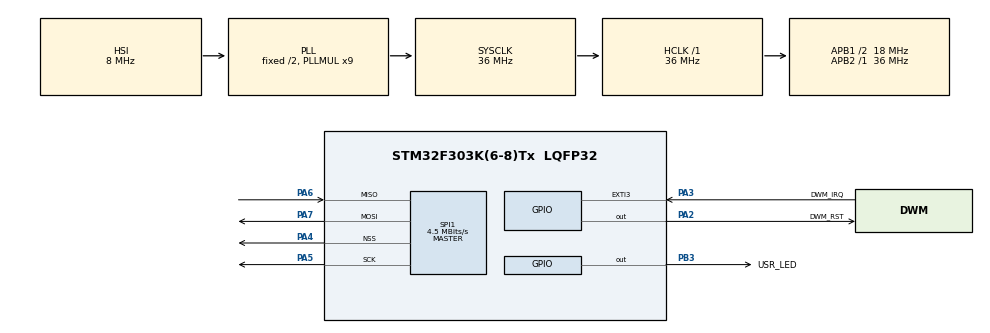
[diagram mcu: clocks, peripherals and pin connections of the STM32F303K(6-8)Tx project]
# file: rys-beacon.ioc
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Mcu.Family=STM32F3
Mcu.Name=STM32F303K(6-8)Tx
Mcu.Package=LQFP32
NVIC.EXTI3_IRQn=true\:15\:0\:true\:false\:true\:true
NVIC.PriorityGroup=NVIC_PRIORITYGROUP_4
PA13.GPIO_Label=SWDIO
PA13.Mode=Serial_Wire
PA13.Signal=SYS_JTMS-SWDIO
PA14.GPIO_Label=SWCLK
PA14.Mode=Serial_Wire
PA14.Signal=SYS_JTCK-SWCLK
PA2.GPIO_Label=DWM_RST
PA2.GPIO_PuPd=GPIO_NOPULL
PA2.GPIO_Speed=GPIO_SPEED_FREQ_HIGH
PA2.Signal=GPIO_Output
PA3.GPIO_Label=DWM_IRQ
PA3.GPIO_PuPd=GPIO_PULLDOWN
PA3.Signal=GPXTI3
PA4.Mode=NSS_Signal_Hard_Output
PA4.Signal=SPI1_NSS
PA5.Mode=Full_Duplex_Master
PA5.Signal=SPI1_SCK
PA6.Mode=Full_Duplex_Master
PA6.Signal=SPI1_MISO
PA7.Mode=Full_Duplex_Master
PA7.Signal=SPI1_MOSI
PB3.GPIO_Label=USR_LED
PB3.Signal=GPIO_Output
PF0\ /\ OSC_IN.Mode=HSE-External-Clock-Source
PF0\ /\ OSC_IN.Signal=RCC_OSC_IN
ProjectManager.HeapSize=0x200
ProjectManager.StackSize=0x400
ProjectManager.TargetToolchain=SW4STM32
RCC.AHBFreq_Value=36000000
RCC.APB1CLKDivider=RCC_HCLK_DIV2
RCC.APB1Freq_Value=18000000
RCC.APB1TimFreq_Value=36000000
RCC.APB2Freq_Value=36000000
RCC.APB2TimFreq_Value=36000000
RCC.CortexFreq_Value=36000000
RCC.HCLKFreq_Value=36000000
RCC.HSE_VALUE=8000000
RCC.HSI_VALUE=8000000
RCC.PLLMUL=RCC_PLL_MUL9
RCC.SYSCLKFreq_VALUE=36000000
RCC.SYSCLKSourceVirtual=RCC_SYSCLKSOURCE_PLLCLK
SPI1.BaudRatePrescaler=SPI_BAUDRATEPRESCALER_8
SPI1.CRCCalculation=SPI_CRCCALCULATION_ENABLE
SPI1.CalculateBaudRate=4.5 MBits/s
SPI1.DataSize=SPI_DATASIZE_8BIT
SPI1.Direction=SPI_DIRECTION_2LINES
SPI1.Mode=SPI_MODE_MASTER
SPI1.NSSPMode=SPI_NSS_PULSE_ENABLE
SPI1.VirtualNSS=VM_NSSHARD
SPI1.VirtualType=VM_MASTER
board=NUCLEO-F303K8

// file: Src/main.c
/**
  ******************************************************************************
  * File Name          : main.c
  * Description        : Main program body
  ******************************************************************************
  ** This notice applies to any and all portions of this file
  * that are not between comment pairs USER CODE BEGIN and
  * USER CODE END. Other portions of this file, whether
  * inserted by the user or by software development tools
  * are owned by their respective copyright owners.
  *
  * COPYRIGHT(c) 2017 STMicroelectronics
  *
  * Redistribution and use in source and binary forms, with or without modification,
  * are permitted provided that the following conditions are met:
  *   1. Redistributions of source code must retain the above copyright notice,
  *      this list of conditions and the following disclaimer.
  *   2. Redistributions in binary form must reproduce the above copyright notice,
  *      this list of conditions and the following disclaimer in the documentation
  *      and/or other materials provided with the distribution.
  *   3. Neither the name of STMicroelectronics nor the names of its contributors
  *      may be used to endorse or promote products derived from this software
  *      without specific prior written permission.
  *
  * THIS SOFTWARE IS PROVIDED BY THE COPYRIGHT HOLDERS AND CONTRIBUTORS "AS IS"
  * AND ANY EXPRESS OR IMPLIED WARRANTIES, INCLUDING, BUT NOT LIMITED TO, THE
  * IMPLIED WARRANTIES OF MERCHANTABILITY AND FITNESS FOR A PARTICULAR PURPOSE ARE
  * DISCLAIMED. IN NO EVENT SHALL THE COPYRIGHT HOLDER OR CONTRIBUTORS BE LIABLE
  * FOR ANY DIRECT, INDIRECT, INCIDENTAL, SPECIAL, EXEMPLARY, OR CONSEQUENTIAL
  * DAMAGES (INCLUDING, BUT NOT LIMITED TO, PROCUREMENT OF SUBSTITUTE GOODS OR
  * SERVICES; LOSS OF USE, DATA, OR PROFITS; OR BUSINESS INTERRUPTION) HOWEVER
  * CAUSED AND ON ANY THEORY OF LIABILITY, WHETHER IN CONTRACT, STRICT LIABILITY,
  * OR TORT (INCLUDING NEGLIGENCE OR OTHERWISE) ARISING IN ANY WAY OUT OF THE USE
  * OF THIS SOFTWARE, EVEN IF ADVISED OF THE POSSIBILITY OF SUCH DAMAGE.
  *
  ******************************************************************************
  */
#include "main.h"
#include "stm32f3xx_hal.h"

/* USER CODE BEGIN Includes */
#include "deca_device_api.h"
#include "deca_regs.h"
#include "dwm_platform.h"
#include <string.h>
/* USER CODE END Includes */

SPI_HandleTypeDef hspi1;

/* USER CODE BEGIN PV */
/* Private variables ---------------------------------------------------------*/

// DW1000 communication configuration - simple transmitter (example 01a)
static dwt_config_t configTransmitter = {
	2,               /* Channel number. */
	DWT_PRF_64M,     /* Pulse repetition frequency. */
	DWT_PLEN_1024,   /* Preamble length. Used in TX only. */
	DWT_PAC32,       /* Preamble acquisition chunk size. Used in RX only. */
	9,               /* TX preamble code. Used in TX only. */
	9,               /* RX preamble code. Used in RX only. */
	1,               /* 0 to use standard SFD, 1 to use non-standard SFD. */
	DWT_BR_110K,     /* Data rate. */
	DWT_PHRMODE_STD, /* PHY header mode. */
	(1025 + 64 - 32) /* SFD timeout (preamble length + 1 + SFD length - PAC size). Used in RX only. */
};
// DW1000 communication configuration - single-sided two-way-ranging responder (example 06b)
static dwt_config_t configResponder = {
	2,               /* Channel number. */
	DWT_PRF_64M,     /* Pulse repetition frequency. */
	DWT_PLEN_128,    /* Preamble length. Used in TX only. */
	DWT_PAC8,        /* Preamble acquisition chunk size. Used in RX only. */
	9,               /* TX preamble code. Used in TX only. */
	9,               /* RX preamble code. Used in RX only. */
	0,               /* 0 to use standard SFD, 1 to use non-standard SFD. */
	DWT_BR_6M8,      /* Data rate. */
	DWT_PHRMODE_STD, /* PHY header mode. */
	(129 + 8 - 8)    /* SFD timeout (preamble length + 1 + SFD length - PAC size). Used in RX only. */
};

/**
 * The frame to send - simple transmitter, An 802.15.4e standard blink. It is a 12-byte frame composed of the following fields:
 *  - byte 0: frame type (0xC5 for a blink)
 *  - byte 1: sequence number, incremented for each new frame
 *  - byte 2 -> 9: device ID
 *  - byte 10/11: frame check-sum, automatically set by DW1000
 */
static uint8 messageTransmitter[] = {0xC5, 0, 'D', 'E', 'C', 'A', 'W', 'A', 'V', 'E', 0, 0};
// Frames used in two-way-ranging responder mode
static uint8 messageResponderPoll[] = {0x41, 0x88, 0, 0xCA, 0xDE, 'W', 'A', 'V', 'E', 0xE0, 0, 0};
static uint8 messageResponderTx[] = {0x41, 0x88, 0, 0xCA, 0xDE, 'V', 'E', 'W', 'A', 0xE1, 0, 0, 0, 0, 0, 0, 0, 0, 0, 0};

// Frame sequence number, incremented after each transmission.
static uint8 frameSequenceNumber = 0;

// Buffer to store received messages. Its size is adjusted to longest frame that this example code is supposed to handle.
static uint8 receiveBuffer[FRAME_LEN_MAX];
static uint8 receiveBufferResponder[RX_BUF_LEN];

// Timestamps of frames transmission/reception. They are 40-bit wide - thus 64-bit type.
static uint64_t timestampPollRx;
static uint64_t timestampResponseTx;

// Command return value. For assertions.
static volatile int commandStatus = DWT_SUCCESS;
/* USER CODE END PV */

void SystemClock_Config(void);
static void MX_GPIO_Init(void);
static void MX_SPI1_Init(void);
void reportError(int code, int delay, int delayFromStart);

/* USER CODE BEGIN PFP */
/* Private function prototypes -----------------------------------------------*/
static uint64_t get_rx_timestamp_u64(void);
static void resp_msg_set_ts(uint8 *ts_field, const uint64_t ts);

/* USER CODE END PFP */

int main(void)
{

  /* MCU Configuration----------------------------------------------------------*/

  /* Reset of all peripherals, Initializes the Flash interface and the Systick. */
  HAL_Init();

  /* Configure the system clock */
  SystemClock_Config();

  /* Initialize all configured peripherals */
  MX_GPIO_Init();
  MX_SPI1_Init();

  /* USER CODE BEGIN 2 */

	#if (DWM_TRANSMITTER==1) || (DWM_RESPONDER==1) || (DWM_RECEIVER==1)
		// Reset and init DW1000.
		reset_DW1000();
		spi_set_rate_low();
		if (dwt_initialise(DWT_LOADNONE) == DWT_ERROR) {
			_Error_Handler(__FILE__, __LINE__);
		}
		spi_set_rate_high();

		// Configure DW1000
		#ifdef DWM_TRANSMITTER
			dwt_configure(&configTransmitter);
		#endif
		#ifdef DWM_RECEIVER
			dwt_configure(&configTransmitter);
		#endif
		#ifdef DWM_RESPONDER
			dwt_configure(&configResponder);

			// Apply default antenna delay value.
			dwt_setrxantennadelay(RX_ANT_DLY);
			dwt_settxantennadelay(TX_ANT_DLY);
		#endif

		// Config GPIO for TX/RX LEDs
		// dwt_setleds(0x01);
	#endif

  /* USER CODE END 2 */

  /* Infinite loop */
  while (1)
  {

  /* USER CODE BEGIN 3 */
  #ifdef DWM_TRANSMITTER
	uint32_t devid = dwt_readdevid();
	if (DWT_DEVICE_ID != devid) {
		_Error_Handler(__FILE__, __LINE__);
	}
	// Write frame data to DW1000 and prepare transmission.
	// Zero offset in TX buffer.
	commandStatus = dwt_writetxdata(sizeof(messageTransmitter), messageTransmitter, 0);
	if (commandStatus == DWT_ERROR) {
		reportError(2, TX_DELAY_MS, 0);
		continue;
	}

	// Zero offset in TX buffer, no ranging.
	dwt_writetxfctrl(sizeof(messageTransmitter), 0, 0);

	// Start transmission.
	commandStatus = dwt_starttx(DWT_START_TX_IMMEDIATE);
	if (commandStatus == DWT_ERROR) {
		reportError(3, TX_DELAY_MS, 0);
		continue;
	}

	/* Poll DW1000 until TX frame sent event set.
	 * STATUS register is 5 bytes long but, as the event we are looking at is in the first byte of the register,
	 * we can use this simplest API function to access it.*/
	while (!(dwt_read32bitreg(SYS_STATUS_ID) & SYS_STATUS_TXFRS)) {};

	// Clear TX frame sent event.
	dwt_write32bitreg(SYS_STATUS_ID, SYS_STATUS_TXFRS);

	// Increment the blink frame sequence number (modulo 256).
	messageTransmitter[BLINK_FRAME_SN_IDX]++;

	// Blink the led
	HAL_GPIO_TogglePin(USR_LED_GPIO_Port, USR_LED_Pin);

	// Execute a delay between transmissions.
	sleep_ms(TX_DELAY_MS);
  #endif
  #ifdef DWM_RECEIVER
	// Clear local RX buffer to avoid having leftovers from previous receptions.
	for (int i = 0 ; i < FRAME_LEN_MAX; i++ ) {
		receiveBuffer[i] = 0;
	}

	// Activate reception immediately.
	commandStatus = dwt_rxenable(DWT_START_RX_IMMEDIATE);
	if (commandStatus == DWT_ERROR) {
		reportError(4, 1000, 0);
		continue;
	}

	// Poll until a frame is properly received or an error/timeout occurs.
	uint32_t statusRegister = dwt_read32bitreg(SYS_STATUS_ID);
	while (!(statusRegister & (SYS_STATUS_RXFCG | SYS_STATUS_ALL_RX_ERR))) {
		statusRegister = dwt_read32bitreg(SYS_STATUS_ID);
	}

	if (statusRegister & SYS_STATUS_RXFCG) {
		// A frame has been received, copy it to our local buffer.
		uint16_t frameLength = dwt_read32bitreg(RX_FINFO_ID) & RX_FINFO_RXFL_MASK_1023;
		if (frameLength <= FRAME_LEN_MAX) {
			dwt_readrxdata(receiveBuffer, frameLength, 0);
		}
		if (frameLength > 0) {
			// printf(receiveBuffer);
			reportError(1, 0, 0);
		} else {
			reportError(2, 0, 0);
		}

		// Clear good RX frame event in the DW1000 status register.
		dwt_write32bitreg(SYS_STATUS_ID, SYS_STATUS_RXFCG);
	} else {
		reportError(5, 1000, 0);
		dwt_write32bitreg(SYS_STATUS_ID, SYS_STATUS_ALL_RX_ERR);
	}
  #endif
  #ifdef DWM_RESPONDER
	// Activate reception immediately.
	dwt_rxenable(DWT_START_RX_IMMEDIATE);

	// Poll for reception of a frame or error/timeout.
	uint32_t statusRegister = dwt_read32bitreg(SYS_STATUS_ID);
	while (!(statusRegister & (SYS_STATUS_RXFCG | SYS_STATUS_ALL_RX_ERR))) {
		statusRegister = dwt_read32bitreg(SYS_STATUS_ID);
	}

	if (statusRegister & SYS_STATUS_RXFCG) {
		uint32_t frameLength;

		// Clear good RX frame event in the DW1000 status register.
		dwt_write32bitreg(SYS_STATUS_ID, SYS_STATUS_RXFCG);

		// A frame has been received, read it into the local buffer.
		frameLength = dwt_read32bitreg(RX_FINFO_ID) & RX_FINFO_RXFL_MASK_1023;
		if (frameLength <= RX_BUFFER_LEN) {
			dwt_readrxdata(receiveBufferResponder, frameLength, 0);
		}

		/* Check that the frame is a poll sent by "SS TWR initiator" example.
		 * As the sequence number field of the frame is not relevant, it is cleared to simplify the validation of the frame. */
		receiveBufferResponder[ALL_MSG_SN_IDX] = 0;
		if (memcmp(receiveBufferResponder, messageResponderPoll, ALL_MSG_COMMON_LEN) == 0) {
			// Retrieve poll reception timestamp.
			timestampPollRx = get_rx_timestamp_u64();

			// Compute final message transmission time.
			uint32 transmissionTime = (timestampPollRx + (POLL_RX_TO_RESP_TX_DLY_UUS * UUS_TO_DWT_TIME)) >> 8;
			dwt_setdelayedtrxtime(transmissionTime);

			// Response TX timestamp is the transmission time we programmed plus the antenna delay.
			timestampResponseTx = (((uint64_t)(transmissionTime & 0xFFFFFFFEUL)) << 8) + TX_ANT_DLY;

			// Write all timestamps in the final message.
			resp_msg_set_ts(&messageResponderTx[RESP_MSG_POLL_RX_TS_IDX], timestampPollRx);
			resp_msg_set_ts(&messageResponderTx[RESP_MSG_RESP_TX_TS_IDX], timestampResponseTx);

			// Write and send the response message.
			messageResponderTx[ALL_MSG_SN_IDX] = frameSequenceNumber;
			dwt_writetxdata(sizeof(messageResponderTx), messageResponderTx, 0); /* Zero offset in TX buffer. */
			dwt_writetxfctrl(sizeof(messageResponderTx), 0, 1); /* Zero offset in TX buffer, ranging. */
			int transmitStatus = dwt_starttx(DWT_START_TX_DELAYED);

			// If dwt_starttx() returns an error, abandon this ranging exchange and proceed to the next one.
			if (transmitStatus == DWT_SUCCESS) {
				// Poll DW1000 until TX frame sent event set.
				while (!(dwt_read32bitreg(SYS_STATUS_ID) & SYS_STATUS_TXFRS)) {}

				// Clear TXFRS event.
				dwt_write32bitreg(SYS_STATUS_ID, SYS_STATUS_TXFRS);

				// Increment frame sequence number after transmission of the poll message (modulo 256).
				frameSequenceNumber++;
			}
		}
	} else {
		// Clear RX error events in the DW1000 status register.
		dwt_write32bitreg(SYS_STATUS_ID, SYS_STATUS_ALL_RX_ERR);

		// Reset RX to properly reinitialise LDE operation.
		dwt_rxreset();
	}
  #endif
  }
  /* USER CODE END 3 */

}

/** System Clock Configuration
*/
void SystemClock_Config(void)
{

  RCC_OscInitTypeDef RCC_OscInitStruct;
  RCC_ClkInitTypeDef RCC_ClkInitStruct;

    /**Initializes the CPU, AHB and APB busses clocks
    */
  RCC_OscInitStruct.OscillatorType = RCC_OSCILLATORTYPE_HSI;
  RCC_OscInitStruct.HSIState = RCC_HSI_ON;
  RCC_OscInitStruct.HSICalibrationValue = 16;
  RCC_OscInitStruct.PLL.PLLState = RCC_PLL_ON;
  RCC_OscInitStruct.PLL.PLLSource = RCC_PLLSOURCE_HSI;
  RCC_OscInitStruct.PLL.PLLMUL = RCC_PLL_MUL9;
  if (HAL_RCC_OscConfig(&RCC_OscInitStruct) != HAL_OK)
  {
    _Error_Handler(__FILE__, __LINE__);
  }

    /**Initializes the CPU, AHB and APB busses clocks
    */
  RCC_ClkInitStruct.ClockType = RCC_CLOCKTYPE_HCLK|RCC_CLOCKTYPE_SYSCLK
                              |RCC_CLOCKTYPE_PCLK1|RCC_CLOCKTYPE_PCLK2;
  RCC_ClkInitStruct.SYSCLKSource = RCC_SYSCLKSOURCE_PLLCLK;
  RCC_ClkInitStruct.AHBCLKDivider = RCC_SYSCLK_DIV1;
  RCC_ClkInitStruct.APB1CLKDivider = RCC_HCLK_DIV2;
  RCC_ClkInitStruct.APB2CLKDivider = RCC_HCLK_DIV1;

  if (HAL_RCC_ClockConfig(&RCC_ClkInitStruct, FLASH_LATENCY_1) != HAL_OK)
  {
    _Error_Handler(__FILE__, __LINE__);
  }

    /**Configure the Systick interrupt time
    */
  HAL_SYSTICK_Config(HAL_RCC_GetHCLKFreq()/1000);

    /**Configure the Systick
    */
  HAL_SYSTICK_CLKSourceConfig(SYSTICK_CLKSOURCE_HCLK);

  /* SysTick_IRQn interrupt configuration */
  HAL_NVIC_SetPriority(SysTick_IRQn, 5, 0);
}

/* SPI1 init function */
static void MX_SPI1_Init(void)
{
  // __HAL_RCC_SPI1_CLK_ENABLE();

  /* SPI1 parameter configuration*/
  hspi1.Instance = SPI1;
  hspi1.Init.Mode = SPI_MODE_MASTER;
  hspi1.Init.Direction = SPI_DIRECTION_2LINES;
  hspi1.Init.DataSize = SPI_DATASIZE_8BIT;
  hspi1.Init.CLKPolarity = SPI_POLARITY_LOW;
  hspi1.Init.CLKPhase = SPI_PHASE_1EDGE;
  // hspi1.Init.NSS = SPI_NSS_SOFT;
  hspi1.Init.NSS = SPI_NSS_HARD_OUTPUT;
  hspi1.Init.BaudRatePrescaler = SPI_BAUDRATEPRESCALER_64;
  hspi1.Init.FirstBit = SPI_FIRSTBIT_MSB;
  hspi1.Init.TIMode = SPI_TIMODE_DISABLE;
  hspi1.Init.CRCCalculation = SPI_CRCCALCULATION_DISABLE;
  // hspi1.Init.CRCCalculation = SPI_CRCCALCULATION_ENABLE;
  hspi1.Init.CRCPolynomial = 7;
  hspi1.Init.CRCLength = SPI_CRC_LENGTH_DATASIZE;
  hspi1.Init.NSSPMode = SPI_NSS_PULSE_DISABLE;
  // hspi1.Init.NSSPMode = SPI_NSS_PULSE_ENABLE;
  if (HAL_SPI_Init(&hspi1) != HAL_OK)
  {
    _Error_Handler(__FILE__, __LINE__);
  }

}

/** Configure pins as
        * Analog
        * Input
        * Output
        * EVENT_OUT
        * EXTI
*/
static void MX_GPIO_Init(void)
{

  GPIO_InitTypeDef GPIO_InitStruct;

  /* GPIO Ports Clock Enable */
  __HAL_RCC_GPIOF_CLK_ENABLE();
  __HAL_RCC_GPIOA_CLK_ENABLE();
  __HAL_RCC_GPIOB_CLK_ENABLE();

  /*Configure GPIO pin Output Level */
  HAL_GPIO_WritePin(DWM_RST_GPIO_Port, DWM_RST_Pin, GPIO_PIN_RESET);

  /*Configure GPIO pin Output Level */
  HAL_GPIO_WritePin(USR_LED_GPIO_Port, USR_LED_Pin, GPIO_PIN_RESET);

  /*Configure GPIO pin : DWM_RST_Pin */
  GPIO_InitStruct.Pin = DWM_RST_Pin;
  GPIO_InitStruct.Mode = GPIO_MODE_INPUT;
  GPIO_InitStruct.Pull = GPIO_NOPULL;
  GPIO_InitStruct.Speed = GPIO_SPEED_FREQ_HIGH;
  HAL_GPIO_Init(DWM_RST_GPIO_Port, &GPIO_InitStruct);

  /*Configure GPIO pin : DWM_IRQ_Pin */
  GPIO_InitStruct.Pin = DWM_IRQ_Pin;
  GPIO_InitStruct.Mode = GPIO_MODE_IT_RISING;
  GPIO_InitStruct.Pull = GPIO_PULLDOWN;
  HAL_GPIO_Init(DWM_IRQ_GPIO_Port, &GPIO_InitStruct);

  /*Configure GPIO pin : USR_LED_Pin */
  GPIO_InitStruct.Pin = USR_LED_Pin;
  GPIO_InitStruct.Mode = GPIO_MODE_OUTPUT_PP;
  GPIO_InitStruct.Pull = GPIO_NOPULL;
  GPIO_InitStruct.Speed = GPIO_SPEED_FREQ_LOW;
  HAL_GPIO_Init(USR_LED_GPIO_Port, &GPIO_InitStruct);

  /* EXTI interrupt init*/
  HAL_NVIC_SetPriority(EXTI3_IRQn, 15, 0);
  HAL_NVIC_EnableIRQ(EXTI3_IRQn);

}

/* USER CODE BEGIN 4 */

/*! ------------------------------------------------------------------------------------------------------------------
 * @fn get_rx_timestamp_u64()
 * @brief Get the RX time-stamp in a 64-bit variable.
 *  /!\ This function assumes that length of time-stamps is 40 bits, for both TX and RX!
 * @param none
 * @return 64-bit value of the read time-stamp.
 */
static uint64_t get_rx_timestamp_u64(void) {
	uint8 ts_tab[5];
	uint64_t ts = 0;
	dwt_readrxtimestamp(ts_tab);
	for (int i = 4; i >= 0; i--) {
		ts <<= 8;
		ts |= ts_tab[i];
	}
	return ts;
}

/*! ------------------------------------------------------------------------------------------------------------------
 * @fn final_msg_set_ts()
 * @brief Fill a given timestamp field in the response message with the given value. In the timestamp fields of the
 *  response message, the least significant byte is at the lower address.
 * @param timestampField pointer on the first byte of the timestamp field to fill ts timestamp value
 * @return none
 */
static void resp_msg_set_ts(uint8_t * timestampField, const uint64_t ts) {
	for (int i = 0; i < RESP_MSG_TS_LEN; i++) {
		timestampField[i] = (ts >> (i * 8)) & 0xFF;
	}
}

void reportError(int code, int delay, int delayFromStart) {
	// HAL_GPIO_WritePin(USR_LED_GPIO_Port, USR_LED_Pin, GPIO_PIN_SET);
	// HAL_Delay(2000);
	HAL_GPIO_WritePin(USR_LED_GPIO_Port, USR_LED_Pin, GPIO_PIN_RESET);
	HAL_Delay(500);
	for (int j = 0; j < code * 2; ++j) {
		HAL_GPIO_TogglePin(USR_LED_GPIO_Port, USR_LED_Pin);
		HAL_Delay(300);
	}

	if (!delayFromStart) {
		HAL_Delay(delay);
	} else {
		// int finalDelay = delay - 3500 - (code * 600);
		int finalDelay = delay - 500 - (code * 600);
		if (finalDelay > 0) {
			HAL_Delay(finalDelay);
		}
	}
}

/* USER CODE END 4 */

void _Error_Handler(char * file, int line)
{
  /* USER CODE BEGIN Error_Handler_Debug */
	/* User can add his own implementation to report the HAL error return state */
	while(1) {
		HAL_GPIO_TogglePin(USR_LED_GPIO_Port, USR_LED_Pin);
		HAL_Delay(66);
	}
  /* USER CODE END Error_Handler_Debug */
}

/************************ (C) COPYRIGHT STMicroelectronics *****END OF FILE****/
